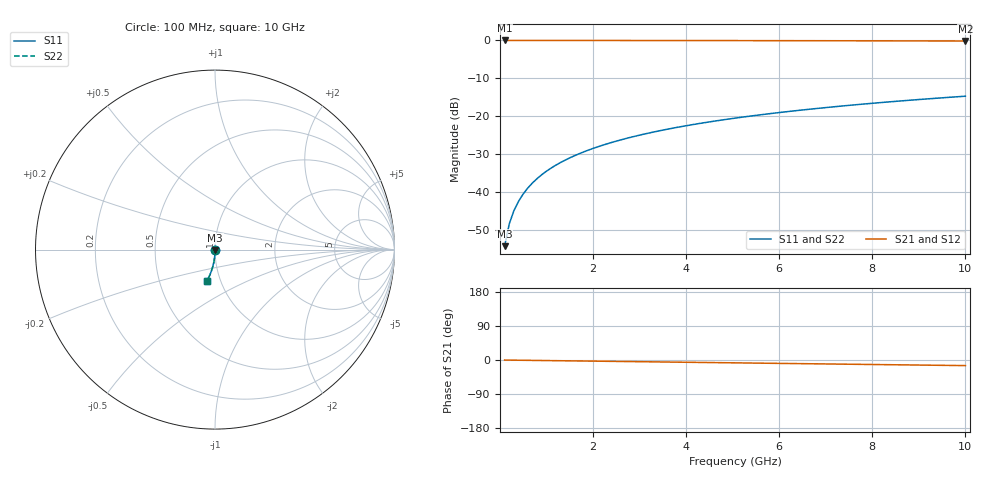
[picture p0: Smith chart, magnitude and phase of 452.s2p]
# Hz S RI R 50.00
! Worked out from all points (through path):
!   100 points, 100 MHz to 10 GHz, reference 50 ohm
!   highest |S21| = 0.00 dB at 100 MHz (marker M1); lowest = -0.2 dB at 10 GHz (marker M2)
!   group delay of S21, straight-line fit = 4.11 ps
!   lowest |S11| = -54.4 dB at 100 MHz (marker M3), VSWR 1.00, Z = 50 - j0.187 ohm
!   |S11| at or under -10 dB: start of sweep to end of sweep
!   |S22| runs from -54.4 to -14.7 dB; largest |S21 - S12| = 0
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1e8  0.000367 -0.00187  0.9996 -0.0026  0.9996 -0.0026  0.000367 -0.00187
2e8  0.000353 -0.00374  0.9996 -0.00521  0.9996 -0.00521  0.000353 -0.00374
3e8  0.000329 -0.00561  0.9996 -0.00781  0.9996 -0.00781  0.000329 -0.00561
4e8  0.000294 -0.00747  0.9995 -0.0104  0.9995 -0.0104  0.000294 -0.00747
5e8  0.000249 -0.00934  0.9995 -0.013  0.9995 -0.013  0.000249 -0.00934
6e8  0.000195 -0.0112  0.9994 -0.0156  0.9994 -0.0156  0.000195 -0.0112
7e8  0.000131 -0.0131  0.9993 -0.0182  0.9993 -0.0182  0.000131 -0.0131
8e8  5.64e-05 -0.0149  0.9993 -0.0208  0.9993 -0.0208  5.64e-05 -0.0149
9e8  -2.75e-05 -0.0168  0.9992 -0.0234  0.9992 -0.0234  -2.75e-05 -0.0168
1.1e9  -0.000225 -0.0205  0.999 -0.0286  0.999 -0.0286  -0.000225 -0.0205
1.4e9  -0.000593 -0.0261  0.9986 -0.0364  0.9986 -0.0364  -0.000593 -0.0261
1.8e9  -0.00122 -0.0336  0.9979 -0.0468  0.9979 -0.0468  -0.00122 -0.0336
2.1e9  -0.00179 -0.0392  0.9973 -0.0546  0.9973 -0.0546  -0.00179 -0.0392
2.5e9  -0.00269 -0.0466  0.9963 -0.0649  0.9963 -0.0649  -0.00269 -0.0466
2.9e9  -0.00374 -0.054  0.9952 -0.0753  0.9952 -0.0753  -0.00374 -0.054
3.4e9  -0.00527 -0.0632  0.9936 -0.0881  0.9936 -0.0881  -0.00527 -0.0632
4.2e9  -0.00821 -0.0778  0.9905 -0.1086  0.9905 -0.1086  -0.00821 -0.0778
5.1e9  -0.0122 -0.094  0.9862 -0.1315  0.9862 -0.1315  -0.0122 -0.094
5.9e9  -0.0164 -0.1082  0.9818 -0.1516  0.9818 -0.1516  -0.0164 -0.1082
6.7e9  -0.0212 -0.1222  0.9768 -0.1715  0.9768 -0.1715  -0.0212 -0.1222
8.4e9  -0.0331 -0.1512  0.9641 -0.213  0.9641 -0.213  -0.0331 -0.1512
1e10  -0.0465 -0.1771  0.9499 -0.2508  0.9499 -0.2508  -0.0465 -0.1771
